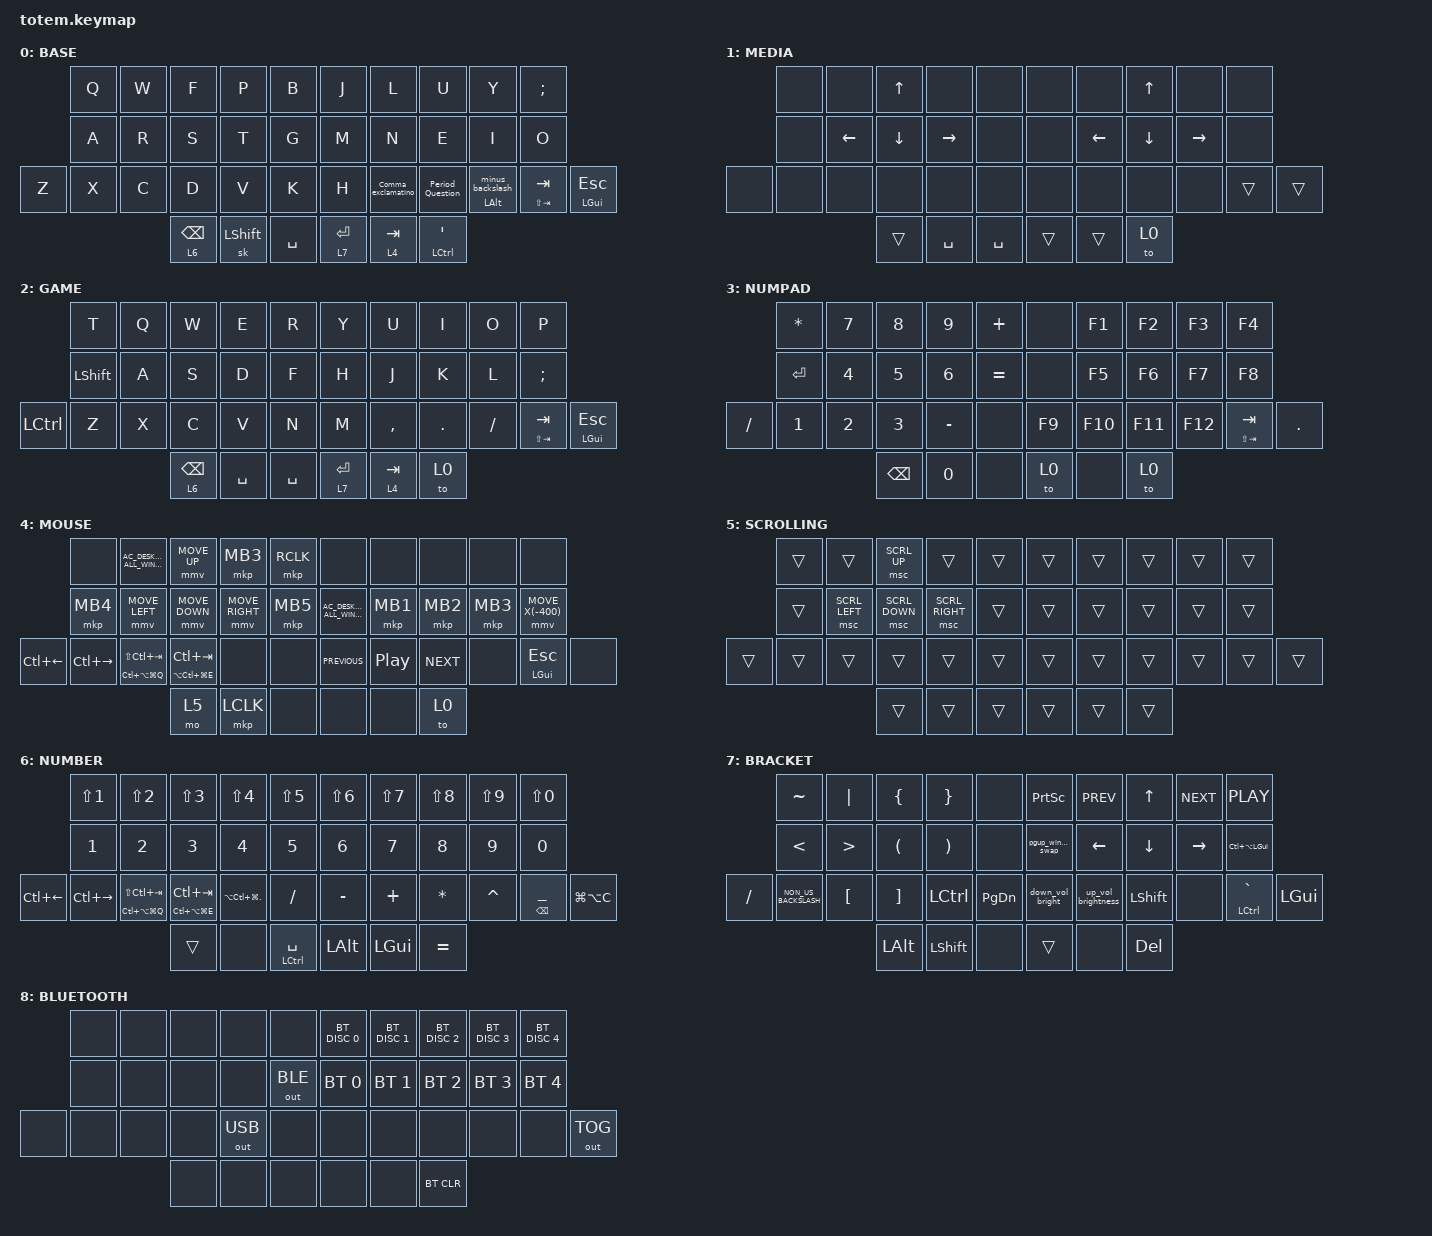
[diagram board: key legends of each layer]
//
//                                                        ▀▀▀▀▀     ▀▀▀▀▀          ▀▀█▀▀
//                                                        ▄▀▀▀▄  ▄  ▄▀▀▀▄  ▄  ▄▀▀▀▄  █  ▄▀▀▀▄
//                                                        █   █  █  █   █  █  █   █  █  █   █
//                                                         ▀▀▀   █   ▀▀▀   █   ▀▀▀   ▀   ▀▀▀
//                                                               █      ▄▄▄█▄▄▄    █   █  
//                                                               ▀      █  █  █     █▄█
//                                                             ▀▀▀▀▀    █  █  █      ▀
//                                                                      ▀  ▀  ▀
//
// ▄▄▄▄▄▄▄▄▄▄▄▄▄▄▄▄▄▄▄▄▄▄▄▄▄▄▄▄▄▄▄▄▄▄▄▄▄▄▄▄▄▄▄▄▄▄▄▄▄▄▄▄▄▄▄▄▄▄▄▄▄▄▄▄▄▄▄▄▄▄▄▄▄▄▄▄▄▄▄▄▄▄▄▄▄▄▄▄▄▄▄▄▄▄▄▄▄▄▄▄▄▄▄▄▄▄▄▄▄▄▄▄▄▄▄▄▄▄▄▄▄▄▄▄▄▄▄▄▄▄▄▄▄▄▄▄▄▄▄▄▄▄▄▄▄▄▄▄▄

#define BASE 0
#define NAV  1
#define SYM  2
#define ADJ  3
#define ZMK_POINTING_DEFAULT_MOVE_VAL 2500  // default: 600
#define ZMK_POINTING_DEFAULT_SCRL_VAL 20    // default: 10

#include <behaviors.dtsi>
#include <dt-bindings/zmk/bt.h>
#include <dt-bindings/zmk/keys.h>
#include <dt-bindings/zmk/outputs.h>
#include <dt-bindings/zmk/pointing.h>

&mt {
    quick-tap-ms = <70>;
    global-quick-tap;
    flavor = "hold-preferred";
    tapping-term-ms = <170>;
};

&mmv {
    x-input-code = <INPUT_REL_X>;
    y-input-code = <INPUT_REL_Y>;
    time-to-max-speed-ms = <750>;
    acceleration-exponent = <1>;
};

&msc {
    x-input-code = <INPUT_REL_HWHEEL>;
    y-input-code = <INPUT_REL_WHEEL>;
    time-to-max-speed-ms = <500>;
    acceleration-exponent = <0>;
};

&sk {
    quick-release;
    release-after-ms = <250>;
};

&lt {
    tapping-term-ms = <150>;
    hold-while-undecided;
};

/ {
    combos {
        compatible = "zmk,combos";

        mouse_on {
            bindings = <&to 4>;
            key-positions = <32 31>;
            layers = <0>;
            require-prior-idle-ms = <400>;
        };

        numpad_on {
            bindings = <&to 3>;
            key-positions = <33 30>;
            layers = <0>;
            require-prior-idle-ms = <400>;
        };

        media_on {
            bindings = <&to 1>;
            key-positions = <33 31>;
            layers = <0>;
            require-prior-idle-ms = <400>;
        };

        lt_off {
            bindings = <&to 0>;
            key-positions = <32 31>;
            layers = <4 2 3 1>;
            require-prior-idle-ms = <400>;
        };

        word_delete {
            bindings = <&kp LA(BACKSPACE)>;
            key-positions = <30 32>;
            layers = <0 3>;
        };

        cmd+shift {
            bindings = <&kp LG(LEFT_SHIFT)>;
            key-positions = <30 31>;
            layers = <0>;
        };

        Bluetooth_config {
            bindings = <&sl 8>;
            key-positions = <34 36>;
            require-prior-idle-ms = <200>;
        };

        mute {
            bindings = <&kp C_MUTE>;
            key-positions = <27 26>;
            layers = <7>;
        };

        game_on {
            bindings = <&to 2>;
            key-positions = <36 35>;
            require-prior-idle-ms = <400>;
            layers = <0>;
        };
    };

    behaviors {
        Comma_exclamatino: Comma_exclamatino {
            compatible = "zmk,behavior-mod-morph";
            label = "COMMA_EXCLAMATINO";
            bindings = <&kp COMMA>, <&kp EXCLAMATION>;

            #binding-cells = <0>;
            mods = <(MOD_LSFT)>;
        };

        Period_Question: Period_Question {
            compatible = "zmk,behavior-mod-morph";
            label = "PERIOD_QUESTION";
            bindings = <&kp PERIOD>, <&kp QUESTION>;

            #binding-cells = <0>;
            mods = <(MOD_LSFT)>;
        };

        up_vol_brightness: up_vol_brightness {
            compatible = "zmk,behavior-mod-morph";
            label = "UP_VOL_BRIGHTNESS";
            bindings = <&kp C_VOLUME_UP>, <&kp C_BRIGHTNESS_INC>;

            #binding-cells = <0>;
            mods = <(MOD_LSFT)>;
        };

        down_vol_bright: down_vol_bright {
            compatible = "zmk,behavior-mod-morph";
            label = "DOWN_VOL_BRIGHT";
            bindings = <&kp C_VOL_DN>, <&kp C_BRIGHTNESS_DEC>;

            #binding-cells = <0>;
            mods = <(MOD_LSFT)>;
        };

        pgup_window_swap: pgup_window_swap {
            compatible = "zmk,behavior-mod-morph";
            label = "PGUP_WINDOW_SWAP";
            bindings = <&kp PG_UP>, <&kp PERIOD>;

            #binding-cells = <0>;
            mods = <(MOD_LCTL|MOD_LALT|MOD_LGUI)>;
            keep-mods = <(MOD_LCTL|MOD_LALT|MOD_LGUI)>;
        };

        mt_idle: mt_idle {
            compatible = "zmk,behavior-hold-tap";
            label = "MT_IDLE";
            bindings = <&kp>, <&kp>;

            #binding-cells = <2>;
            require-prior-idle-ms = <200>;
            tapping-term-ms = <170>;
            quick-tap-ms = <100>;
        };

        minus_backslash: minus_backslash {
            compatible = "zmk,behavior-mod-morph";
            label = "MINUS_BACKSLASH";
            bindings = <&kp MINUS>, <&kp SLASH>;

            #binding-cells = <0>;
            mods = <(MOD_LSFT)>;
        };

        mt_idle_extra: mt_idle_extra {
            compatible = "zmk,behavior-hold-tap";
            label = "MT_IDLE_EXTRA";
            bindings = <&kp>, <&minus_backslash>;

            #binding-cells = <2>;
            tapping-term-ms = <170>;
            quick-tap-ms = <100>;
            require-prior-idle-ms = <200>;
        };
    };

    keymap {
        compatible = "zmk,keymap";

        // ▄▄▄▄▄▄▄▄▄▄▄▄▄▄▄▄▄▄▄▄▄▄▄▄▄▄▄▄▄▄▄▄▄▄▄▄▄▄▄▄▄▄▄▄▄▄▄▄▄▄▄▄▄▄▄▄▄▄▄▄▄▄▄▄▄▄▄▄▄▄▄▄▄▄▄▄▄▄▄▄▄▄▄▄▄▄▄▄▄▄▄▄▄▄▄▄▄▄▄▄▄▄▄▄▄▄▄▄▄▄▄▄▄▄▄▄▄▄▄▄▄▄▄▄▄▄▄▄▄▄▄▄▄▄▄▄▄▄▄▄▄▄▄▄▄▄▄▄▄
        // ▄▄▄▄▄▄▄▄▄▄▄▄▄▄▄▄▄▄▄▄▄▄▄▄▄▄▄▄▄▄▄▄▄▄▄▄▄▄▄▄▄▄▄▄▄▄▄▄▄▄▄▄▄▄▄▄▄▄▄▄▄▄▄▄▄▄▄▄▄▄▄▄▄▄▄▄▄▄▄▄▄▄▄▄▄▄▄▄▄▄▄▄▄▄▄▄▄▄▄▄▄▄▄▄▄▄▄▄▄▄▄▄▄▄▄▄▄▄▄▄▄▄▄▄▄▄▄▄▄▄▄▄▄▄▄▄▄▄▄▄▄▄▄▄▄▄▄▄▄
        // ▄▄▄▄▄▄▄▄▄▄▄▄▄▄▄▄▄▄▄▄▄▄▄▄▄▄▄▄▄▄▄▄▄▄▄▄▄▄▄▄▄▄▄▄▄▄▄▄▄▄▄▄▄▄▄▄▄▄▄▄▄▄▄▄▄▄▄▄▄▄▄▄▄▄▄▄▄▄▄▄▄▄▄▄▄▄▄▄▄▄▄▄▄▄▄▄▄▄▄▄▄▄▄▄▄▄▄▄▄▄▄▄▄▄▄▄▄▄▄▄▄▄▄▄▄▄▄▄▄▄▄▄▄▄▄▄▄▄▄▄▄▄▄▄▄▄▄▄▄
        // ▄▄▄▄▄▄▄▄▄▄▄▄▄▄▄▄▄▄▄▄▄▄▄▄▄▄▄▄▄▄▄▄▄▄▄▄▄▄▄▄▄▄▄▄▄▄▄▄▄▄▄▄▄▄▄▄▄▄▄▄▄▄▄▄▄▄▄▄▄▄▄▄▄▄▄▄▄▄▄▄▄▄▄▄▄▄▄▄▄▄▄▄▄▄▄▄▄▄▄▄▄▄▄▄▄▄▄▄▄▄▄▄▄▄▄▄▄▄▄▄▄▄▄▄▄▄▄▄▄▄▄▄▄▄▄▄▄▄▄▄▄▄▄▄▄▄▄▄▄

        BASE {
            bindings = <
       &kp Q  &kp W  &kp F            &kp P           &kp B        &kp J        &kp L               &kp U               &kp Y                      &kp SEMI
       &kp A  &kp R  &kp S            &kp T           &kp G        &kp M        &kp N               &kp E               &kp I                      &kp O
&kp Z  &kp X  &kp C  &kp D            &kp V           &kp K        &kp H        &Comma_exclamatino  &Period_Question    &mt_idle_extra LEFT_ALT 0  &mt LS(TAB) TAB  &mt LEFT_GUI ESCAPE
                     &lt 6 BACKSPACE  &sk LEFT_SHIFT  &kp SPACE    &lt 7 ENTER  &lt 4 TAB           &mt_idle LCTRL SQT
            >;
        };

        MEDIA {
            bindings = <
       &none  &none     &kp UP_ARROW  &none      &none        &none   &none     &kp UP_ARROW  &none      &none
       &none  &kp LEFT  &kp DOWN      &kp RIGHT  &none        &none   &kp LEFT  &kp DOWN      &kp RIGHT  &none
&none  &none  &none     &none         &none      &none        &none   &none     &none         &none      &trans  &trans
                        &trans        &kp SPACE  &kp SPACE    &trans  &trans    &to 0
            >;
        };

        GAME {
            bindings = <
           &kp T      &kp Q  &kp W            &kp E      &kp R        &kp Y        &kp U      &kp I    &kp O     &kp P
           &kp LSHFT  &kp A  &kp S            &kp D      &kp F        &kp H        &kp J      &kp K    &kp L     &kp SEMI
&kp LCTRL  &kp Z      &kp X  &kp C            &kp V      &kp N        &kp M        &kp COMMA  &kp DOT  &kp FSLH  &mt LS(TAB) TAB  &mt LEFT_GUI ESCAPE
                             &lt 6 BACKSPACE  &kp SPACE  &kp SPACE    &lt 7 ENTER  &lt 4 TAB  &to 0
            >;
        };

        NUMPAD {
            bindings = <
           &kp ASTERISK  &kp N7  &kp N8         &kp N9     &kp PLUS     &none   &kp F1   &kp F2   &kp F3   &kp F4
           &kp ENTER     &kp N4  &kp N5         &kp N6     &kp EQUAL    &none   &kp F5   &kp F6   &kp F7   &kp F8
&kp SLASH  &kp NUMBER_1  &kp N2  &kp N3         &kp MINUS  &none        &kp F9  &kp F10  &kp F11  &kp F12  &mt LS(TAB) TAB  &kp PERIOD
                                 &kp BACKSPACE  &kp N0     &none        &to 0   &none    &to 0
            >;
        };

        MOUSE {
            bindings = <
              &none          &kp C_AC_DESKTOP_SHOW_ALL_WINDOWS  &mmv MOVE_UP               &mkp MB3         &mkp RCLK    &none                              &none             &none       &none     &none
              &mkp MB4       &mmv MOVE_LEFT                     &mmv MOVE_DOWN             &mmv MOVE_RIGHT  &mkp MB5     &kp C_AC_DESKTOP_SHOW_ALL_WINDOWS  &mkp MB1          &mkp MB2    &mkp MB3  &mmv MOVE_X(-400)
&kp LC(LEFT)  &kp LC(RIGHT)  &mt LC(LA(LG(Q))) LS(LC(TAB))      &mt LA(LC(LG(E))) LC(TAB)  &none            &none        &kp C_PREVIOUS                     &kp C_PLAY_PAUSE  &kp C_NEXT  &none     &mt LEFT_GUI ESCAPE  &none
                                                                &mo 5                      &mkp LCLK        &none        &none                              &none             &to 0
            >;
        };

        SCROLLING {
            bindings = <
        &trans  &trans          &msc SCRL_UP    &trans           &trans    &trans  &trans  &trans  &trans  &trans
        &trans  &msc SCRL_LEFT  &msc SCRL_DOWN  &msc SCRL_RIGHT  &trans    &trans  &trans  &trans  &trans  &trans
&trans  &trans  &trans          &trans          &trans           &trans    &trans  &trans  &trans  &trans  &trans  &trans
                                &trans          &trans           &trans    &trans  &trans  &trans
            >;
        };

        NUMBER {
            bindings = <
              &kp LS(N1)     &kp LS(N2)                     &kp LS(N3)                 &kp LS(N4)              &kp LS(N5)         &kp LS(N6)    &kp LS(N7)    &kp LS(N8)    &kp LS(N9)  &kp LS(N0)
              &kp N1         &kp N2                         &kp N3                     &kp N4                  &kp N5             &kp N6        &kp N7        &kp N8        &kp N9      &kp N0
&kp LC(LEFT)  &kp LC(RIGHT)  &mt LC(LA(LG(Q))) LS(LC(TAB))  &mt LC(LA(LG(E))) LC(TAB)  &kp LA(LC(LG(PERIOD)))  &kp SLASH          &kp MINUS     &kp PLUS      &kp ASTERISK  &kp CARET   &mt BACKSPACE UNDERSCORE  &kp LG(LA(C))
                                                            &trans                     &none                   &mt LCTRL SPACE    &kp LEFT_ALT  &kp LEFT_GUI  &kp EQUAL
            >;
        };

        BRACKET {
            bindings = <
           &kp TILDE             &kp PIPE          &kp LEFT_BRACE        &kp RIGHT_BRACE        &none            &kp PRINTSCREEN    &kp C_PREV          &kp UP_ARROW    &kp C_NEXT  &kp C_PLAY
           &kp LESS_THAN         &kp GREATER_THAN  &kp LEFT_PARENTHESIS  &kp RIGHT_PARENTHESIS  &none            &pgup_window_swap  &kp LEFT            &kp DOWN        &kp RIGHT   &kp LC(LA(LEFT_GUI))
&kp SLASH  &kp NON_US_BACKSLASH  &kp LEFT_BRACKET  &kp RIGHT_BRACKET     &kp LCTRL              &kp PAGE_DOWN    &down_vol_bright   &up_vol_brightness  &kp LEFT_SHIFT  &none       &mt LCTRL GRAVE       &kp LEFT_GUI
                                                   &kp LEFT_ALT          &kp LEFT_SHIFT         &none            &trans             &none               &kp DELETE
            >;
        };

        BLUETOOTH {
            bindings = <
       &none  &none  &none  &none         &none           &bt BT_DISC 0  &bt BT_DISC 1  &bt BT_DISC 2  &bt BT_DISC 3  &bt BT_DISC 4
       &none  &none  &none  &none         &out OUT_BLE    &bt BT_SEL 0   &bt BT_SEL 1   &bt BT_SEL 2   &bt BT_SEL 3   &bt BT_SEL 4
&none  &none  &none  &none  &out OUT_USB  &none           &none          &none          &none          &none          &none          &out OUT_TOG
                     &none  &none         &none           &none          &none          &bt BT_CLR
            >;
        };
    };
};
